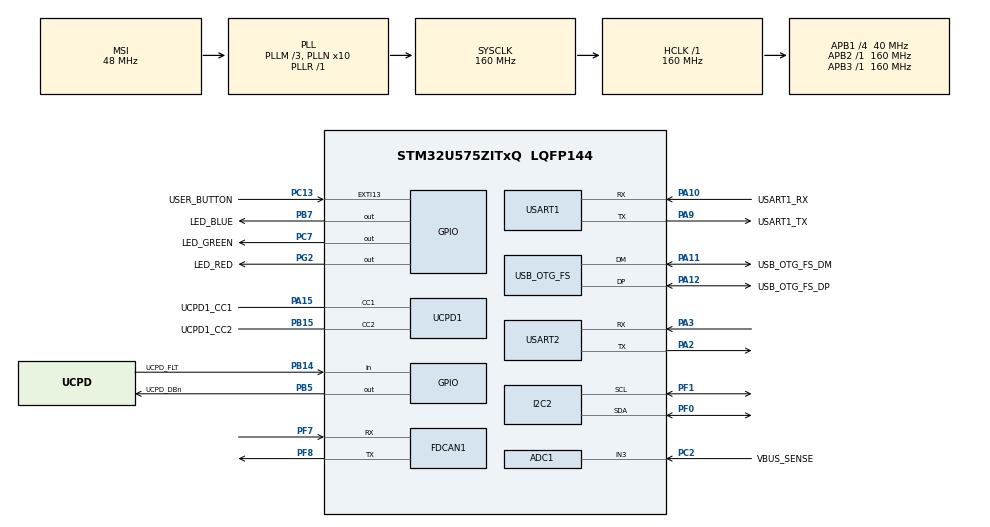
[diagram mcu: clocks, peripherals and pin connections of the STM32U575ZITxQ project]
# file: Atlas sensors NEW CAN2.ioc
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ADC1.NbrOfConversion=1
ADC1.Resolution=ADC_RESOLUTION_14B
ADC1.master=1
CORTEX_M33_NS.userName=CORTEX_M33
FDCAN1.AutoRetransmission=ENABLE
FDCAN1.CalculateBaudRateNominal=500000
FDCAN1.CalculateTimeBitNominal=2000
FDCAN1.CalculateTimeQuantumNominal=100.0
FDCAN1.DataSyncJumpWidth=16
FDCAN1.DataTimeSeg1=23
FDCAN1.DataTimeSeg2=16
FDCAN1.ExtFiltersNbr=1
FDCAN1.FrameFormat=FDCAN_FRAME_FD_BRS
FDCAN1.NominalPrescaler=4
FDCAN1.NominalSyncJumpWidth=3
FDCAN1.NominalTimeSeg1=16
FDCAN1.NominalTimeSeg2=3
FDCAN1.StdFiltersNbr=1
I2C2.Timing=0x00909BEB
Mcu.Family=STM32U5
Mcu.Name=STM32U575ZITxQ
Mcu.Package=LQFP144
NVIC.FDCAN1_IT0_IRQn=true\:0\:0\:false\:false\:true\:true\:true\:true
NVIC.OTG_FS_IRQn=true\:0\:0\:false\:false\:true\:true\:true\:true
NVIC.PriorityGroup=NVIC_PRIORITYGROUP_3
NVIC.USART2_IRQn=true\:0\:0\:false\:false\:true\:true\:true\:true
PA10.GPIO_Label=USART1_RX
PA10.GPIO_PuPd=GPIO_PULLDOWN
PA10.GPIO_Speed=GPIO_SPEED_FREQ_VERY_HIGH
PA10.Mode=Asynchronous
PA10.Signal=USART1_RX
PA11.GPIO_Label=USB_OTG_FS_DM
PA11.GPIO_Speed=GPIO_SPEED_FREQ_VERY_HIGH
PA11.Mode=Device_Only
PA11.Signal=USB_OTG_FS_DM
PA12.GPIO_Label=USB_OTG_FS_DP
PA12.GPIO_Speed=GPIO_SPEED_FREQ_VERY_HIGH
PA12.Mode=Device_Only
PA12.Signal=USB_OTG_FS_DP
PA13\ (JTMS/SWDIO).Mode=Trace_Asynchronous_SW
PA13\ (JTMS/SWDIO).Signal=DEBUG_JTMS-SWDIO
PA14\ (JTCK/SWCLK).Mode=Trace_Asynchronous_SW
PA14\ (JTCK/SWCLK).Signal=DEBUG_JTCK-SWCLK
PA15\ (JTDI).GPIO_Label=UCPD1_CC1
PA15\ (JTDI).Mode=Sink_AllSignals
PA15\ (JTDI).Signal=UCPD1_CC1
PA2.Mode=Asynchronous
PA2.Signal=USART2_TX
PA3.Mode=Asynchronous
PA3.Signal=USART2_RX
PA9.GPIO_Label=USART1_TX
PA9.GPIO_PuPd=GPIO_PULLDOWN
PA9.GPIO_Speed=GPIO_SPEED_FREQ_VERY_HIGH
PA9.Mode=Asynchronous
PA9.Signal=USART1_TX
PB14.GPIO_Label=UCPD_FLT
PB14.Signal=GPIO_Input
PB15.GPIO_Label=UCPD1_CC2
PB15.Mode=Sink_AllSignals
PB15.Signal=UCPD1_CC2
PB3\ (JTDO/TRACESWO).Mode=Trace_Asynchronous_SW
PB3\ (JTDO/TRACESWO).Signal=DEBUG_JTDO-SWO
PB5.GPIO_Label=UCPD_DBn
PB5.Signal=GPIO_Output
PB7.GPIO_Label=LED_BLUE
PB7.GPIO_ModeDefaultOutputPP=GPIO_MODE_OUTPUT_PP
PB7.GPIO_PuPd=GPIO_PULLUP
PB7.GPIO_Speed=GPIO_SPEED_FREQ_HIGH
PB7.Signal=GPIO_Output
PB8.Signal=I2C1_SCL
PB9.Signal=I2C1_SDA
PC13.GPIO_Label=USER_BUTTON
PC13.GPIO_ModeDefaultEXTI=GPIO_MODE_IT_FALLING
PC13.Signal=GPXTI13
PC14-OSC32_IN\ (PC14).Mode=LSE-External-Oscillator
PC14-OSC32_IN\ (PC14).Signal=RCC_OSC32_IN
PC15-OSC32_OUT\ (PC15).Mode=LSE-External-Oscillator
PC15-OSC32_OUT\ (PC15).Signal=RCC_OSC32_OUT
PC2.GPIO_Label=VBUS_SENSE
PC2.Mode=IN3-Single-Ended
PC2.Signal=ADC1_IN3
PC7.GPIO_Label=LED_GREEN
PC7.GPIO_PuPd=GPIO_PULLUP
PC7.GPIO_Speed=GPIO_SPEED_FREQ_HIGH
PC7.Signal=GPIO_Output
PF0.Mode=I2C
PF0.Signal=I2C2_SDA
PF1.Mode=I2C
PF1.Signal=I2C2_SCL
PF7.Mode=FDCAN_Activate
PF7.Signal=FDCAN1_RX
PF8.Mode=FDCAN_Activate
PF8.Signal=FDCAN1_TX
PG2.GPIO_Label=LED_RED
PG2.GPIO_ModeDefaultOutputPP=GPIO_MODE_OUTPUT_PP
PG2.GPIO_PuPd=GPIO_PULLUP
PG2.GPIO_Speed=GPIO_SPEED_FREQ_HIGH
PG2.Signal=GPIO_Output
PWR.PowerMode=PWR_SMPS_SUPPLY
ProjectManager.HeapSize=0x200
ProjectManager.StackSize=0x400
ProjectManager.TargetToolchain=STM32CubeIDE
RCC.ADCFreq_Value=16000000
RCC.AHBFreq_Value=160000000
RCC.APB1CLKDivider=RCC_HCLK_DIV4
RCC.APB1Freq_Value=40000000
RCC.APB1TimFreq_Value=80000000
RCC.APB2Freq_Value=160000000
RCC.APB2TimFreq_Value=160000000
RCC.APB3Freq_Value=160000000
RCC.CortexFreq_Value=160000000
RCC.DACCLockSelectionVirtual=RCC_DAC1CLKSOURCE_LSI
RCC.EPOD_VALUE=48000000
RCC.HCLKFreq_Value=160000000
RCC.HSE_VALUE=16000000
RCC.HSI48_VALUE=48000000
RCC.HSI_VALUE=16000000
RCC.LSIDIV_VALUE=32000
RCC.MSIClockRange=RCC_MSIRANGE_0
RCC.MSI_VALUE=48000000
RCC.PLL1Q=4
RCC.PLL1R=1
RCC.PLLFRACN=0
RCC.PLLM=3
RCC.PLLN=10
RCC.SYSCLKFreq_VALUE=160000000
RCC.SYSCLKSource=RCC_SYSCLKSOURCE_PLLCLK
RCC.USBFreq_Value=48000000
RCC.VCOOutputFreq_Value=160000000
USART1.VirtualMode-Asynchronous=VM_ASYNC
USART2.VirtualMode-Asynchronous=VM_ASYNC
USB_OTG_FS.VirtualMode=Device_Only
VP_GPDMA1_VS_GPDMACH15.Mode=SIMPLEREQUEST_GPDMACH15
VP_ICACHE_VS_ENABLE_ICACHE_MEMORY.Mode=Memoryregions
VP_ICACHE_VS_ICACHE.Mode=DirectMappedCache
VP_LPBAMQUEUE_VS_QUEUE.Mode=QUEUEMODE
VP_LPBAM_VS_SIG1.Mode=SmartRun
VP_LPBAM_VS_SIG4.Mode=LPDMA1
VP_MEMORYMAP_VS_MEMORYMAP.Mode=CurAppReg
VP_PWR_VS_DBSignals.Mode=DisableDeadBatterySignals
VP_PWR_VS_LPOM.Mode=PowerOptimisation
VP_PWR_VS_SECSignals.Mode=Security/Privilege
VP_PWR_Vdda.Mode=isolationVdda
board=NUCLEO-U575ZI-Q

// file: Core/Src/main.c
/* USER CODE BEGIN Header */
/**
  ******************************************************************************
  * @file           : main.c
  * @brief          : Main program body
  ******************************************************************************
  * @attention
  *
  * Copyright (c) 2025 STMicroelectronics.
  * All rights reserved.
  *
  * This software is licensed under terms that can be found in the LICENSE file
  * in the root directory of this software component.
  * If no LICENSE file comes with this software, it is provided AS-IS.
  *
  ******************************************************************************
  */
/* USER CODE END Header */
#include "main.h"

/* USER CODE BEGIN Includes */
#include <string.h>
#include <stdio.h>
#include <can.h>
#include <stdbool.h>
/* USER CODE END Includes */

ADC_HandleTypeDef hadc1;

FDCAN_HandleTypeDef hfdcan1;

DMA_HandleTypeDef handle_GPDMA1_Channel15;

I2C_HandleTypeDef hi2c2;

UART_HandleTypeDef huart1;
UART_HandleTypeDef huart2;

PCD_HandleTypeDef hpcd_USB_OTG_FS;

/* USER CODE BEGIN PV */
#define EZO_pH_I2C_ADDR (0x63 << 1)
#define EZO_EC_I2C_ADDR (0x64 << 1)
#define EZO_RTD_I2C_ADDR (0x66 << 1)

char uart_buffer[64];
volatile uint32_t max600_clock = 0;
volatile uint32_t max800_clock = 0;
/* USER CODE END PV */

void SystemClock_Config(void);
static void SystemPower_Config(void);
static void MX_GPIO_Init(void);
static void MX_GPDMA1_Init(void);
static void MX_ADC1_Init(void);
static void MX_ICACHE_Init(void);
static void MX_UCPD1_Init(void);
static void MX_USART1_UART_Init(void);
static void MX_USB_OTG_FS_PCD_Init(void);
static void MX_USART2_UART_Init(void);
static void MX_I2C2_Init(void);
static void MX_FDCAN1_Init(void);
/* USER CODE BEGIN PFP */
int read_rtd();
int read_ec();
int read_ph();
void SendSensorCommand(const char *cmd, uint16_t address);
void ReadSensorResponse(char *buffer, uint8_t len, uint16_t address);
float simple_atof(char *str);

#ifdef __GNUC__
/* With GCC/RAISONANCE, small printf (option LD Linker->Libraries->Small printf
   set to 'Yes') calls __io_putchar() */
#define PUTCHAR_PROTOTYPE int __io_putchar(int ch)
#else
#define PUTCHAR_PROTOTYPE int fputc(int ch, FILE *f)
#endif /* __GNUC__ */

/* USER CODE END PFP */

int main(void)
{

  /* MCU Configuration--------------------------------------------------------*/

  /* Reset of all peripherals, Initializes the Flash interface and the Systick. */
  HAL_Init();

  /* Configure the System Power */
  SystemPower_Config();

  /* Configure the system clock */
  SystemClock_Config();

  /* Initialize all configured peripherals */
  MX_GPIO_Init();
  MX_GPDMA1_Init();
  MX_ADC1_Init();
  MX_ICACHE_Init();
  MX_UCPD1_Init();
  MX_USART1_UART_Init();
  MX_USB_OTG_FS_PCD_Init();
  MX_USART2_UART_Init();
  MX_I2C2_Init();
  MX_FDCAN1_Init();
  /* USER CODE BEGIN 2 */
  CAN_Init(&hfdcan1);

  /* USER CODE END 2 */

  /* Infinite loop */
  /* USER CODE BEGIN WHILE */
  while (1)
  {
	 uint8_t TxData_temp[3]; memset(TxData_temp, 0, 3);
	 uint8_t TxData_ec[4]; memset(TxData_ec, 0, 4);
	 uint8_t TxData_ph[2]; memset(TxData_ph, 0, 2);

	 // TEMPERATURE
	 int temp_val = read_rtd();

	 TxData_temp[0] = (uint8_t)(temp_val & 0xFF);
	 TxData_temp[1] = (uint8_t)((temp_val >> 8) & 0xFF);
	 TxData_temp[2] = (uint8_t)((temp_val >> 16) & 0xFF);

	 if (CAN_Transmit(0x100, FDCAN_STANDARD_ID, FDCAN_DLC_BYTES_3, TxData_temp, &hfdcan1) != HAL_OK) {
		 Error_Handler();
	 } else HAL_GPIO_WritePin(GPIOC, GPIO_PIN_7, GPIO_PIN_SET);
	 HAL_GPIO_WritePin(GPIOC, GPIO_PIN_7, GPIO_PIN_RESET);

	 // PH
	 int ph_val = read_ph();
	 TxData_ph[0] = (uint8_t)(ph_val & 0xFF);
	 TxData_ph[1] = (uint8_t)((ph_val >> 8) & 0xFF);

	 if (CAN_Transmit(0x110, FDCAN_STANDARD_ID, FDCAN_DLC_BYTES_2, TxData_ph, &hfdcan1) != HAL_OK) {
		 Error_Handler();
	 } else HAL_GPIO_WritePin(GPIOC, GPIO_PIN_7, GPIO_PIN_SET);
	 HAL_GPIO_WritePin(GPIOC, GPIO_PIN_7, GPIO_PIN_RESET);

	 // SALINITY
	 int ec_val = read_ec();
	 TxData_ec[0] = (uint8_t)(ec_val & 0xFF);
	 TxData_ec[1] = (uint8_t)((ec_val >> 8) & 0xFF);
	 TxData_ec[2] = (uint8_t)((ec_val >> 16) & 0xFF);
	 TxData_ec[3] = (uint8_t)((ec_val >> 24) & 0xFF);

	 if (CAN_Transmit(0x120, FDCAN_STANDARD_ID, FDCAN_DLC_BYTES_4, TxData_ec, &hfdcan1) != HAL_OK) {
		 Error_Handler();
	 } else HAL_GPIO_WritePin(GPIOC, GPIO_PIN_7, GPIO_PIN_SET);
	 HAL_GPIO_WritePin(GPIOC, GPIO_PIN_7, GPIO_PIN_RESET);

	 max600_clock++;
	 max800_clock++;

	 HAL_Delay(1);

    /* USER CODE END WHILE */

  }
}

void SystemClock_Config(void)
{
  RCC_OscInitTypeDef RCC_OscInitStruct = {0};
  RCC_ClkInitTypeDef RCC_ClkInitStruct = {0};

  /** Configure the main internal regulator output voltage
  */
  if (HAL_PWREx_ControlVoltageScaling(PWR_REGULATOR_VOLTAGE_SCALE1) != HAL_OK)
  {
    Error_Handler();
  }

  /** Initializes the CPU, AHB and APB buses clocks
  */
  RCC_OscInitStruct.OscillatorType = RCC_OSCILLATORTYPE_HSI48|RCC_OSCILLATORTYPE_HSI
                              |RCC_OSCILLATORTYPE_MSI;
  RCC_OscInitStruct.HSIState = RCC_HSI_ON;
  RCC_OscInitStruct.HSI48State = RCC_HSI48_ON;
  RCC_OscInitStruct.HSICalibrationValue = RCC_HSICALIBRATION_DEFAULT;
  RCC_OscInitStruct.MSIState = RCC_MSI_ON;
  RCC_OscInitStruct.MSICalibrationValue = RCC_MSICALIBRATION_DEFAULT;
  RCC_OscInitStruct.MSIClockRange = RCC_MSIRANGE_0;
  RCC_OscInitStruct.PLL.PLLState = RCC_PLL_ON;
  RCC_OscInitStruct.PLL.PLLSource = RCC_PLLSOURCE_MSI;
  RCC_OscInitStruct.PLL.PLLMBOOST = RCC_PLLMBOOST_DIV4;
  RCC_OscInitStruct.PLL.PLLM = 3;
  RCC_OscInitStruct.PLL.PLLN = 10;
  RCC_OscInitStruct.PLL.PLLP = 2;
  RCC_OscInitStruct.PLL.PLLQ = 4;
  RCC_OscInitStruct.PLL.PLLR = 1;
  RCC_OscInitStruct.PLL.PLLRGE = RCC_PLLVCIRANGE_1;
  RCC_OscInitStruct.PLL.PLLFRACN = 0;
  if (HAL_RCC_OscConfig(&RCC_OscInitStruct) != HAL_OK)
  {
    Error_Handler();
  }

  /** Initializes the CPU, AHB and APB buses clocks
  */
  RCC_ClkInitStruct.ClockType = RCC_CLOCKTYPE_HCLK|RCC_CLOCKTYPE_SYSCLK
                              |RCC_CLOCKTYPE_PCLK1|RCC_CLOCKTYPE_PCLK2
                              |RCC_CLOCKTYPE_PCLK3;
  RCC_ClkInitStruct.SYSCLKSource = RCC_SYSCLKSOURCE_PLLCLK;
  RCC_ClkInitStruct.AHBCLKDivider = RCC_SYSCLK_DIV1;
  RCC_ClkInitStruct.APB1CLKDivider = RCC_HCLK_DIV4;
  RCC_ClkInitStruct.APB2CLKDivider = RCC_HCLK_DIV1;
  RCC_ClkInitStruct.APB3CLKDivider = RCC_HCLK_DIV1;

  if (HAL_RCC_ClockConfig(&RCC_ClkInitStruct, FLASH_LATENCY_4) != HAL_OK)
  {
    Error_Handler();
  }
}

/**
  * @brief Power Configuration
  * @retval None
  */
static void SystemPower_Config(void)
{
  HAL_PWREx_EnableVddIO2();

  /*
   * Switch to SMPS regulator instead of LDO
   */
  if (HAL_PWREx_ConfigSupply(PWR_SMPS_SUPPLY) != HAL_OK)
  {
    Error_Handler();
  }
}

static void MX_ADC1_Init(void)
{

  /** Common config
  */
  hadc1.Instance = ADC1;
  hadc1.Init.ClockPrescaler = ADC_CLOCK_ASYNC_DIV1;
  hadc1.Init.Resolution = ADC_RESOLUTION_14B;
  hadc1.Init.GainCompensation = 0;
  hadc1.Init.ScanConvMode = ADC_SCAN_DISABLE;
  hadc1.Init.EOCSelection = ADC_EOC_SINGLE_CONV;
  hadc1.Init.LowPowerAutoWait = DISABLE;
  hadc1.Init.ContinuousConvMode = DISABLE;
  hadc1.Init.NbrOfConversion = 1;
  hadc1.Init.DiscontinuousConvMode = DISABLE;
  hadc1.Init.DMAContinuousRequests = DISABLE;
  hadc1.Init.TriggerFrequencyMode = ADC_TRIGGER_FREQ_HIGH;
  hadc1.Init.Overrun = ADC_OVR_DATA_PRESERVED;
  hadc1.Init.LeftBitShift = ADC_LEFTBITSHIFT_NONE;
  hadc1.Init.ConversionDataManagement = ADC_CONVERSIONDATA_DR;
  hadc1.Init.OversamplingMode = DISABLE;
  if (HAL_ADC_Init(&hadc1) != HAL_OK)
  {
    Error_Handler();
  }

}

static void MX_FDCAN1_Init(void)
{

  hfdcan1.Instance = FDCAN1;
  hfdcan1.Init.ClockDivider = FDCAN_CLOCK_DIV1;
  hfdcan1.Init.FrameFormat = FDCAN_FRAME_FD_BRS;
  hfdcan1.Init.Mode = FDCAN_MODE_NORMAL;
  hfdcan1.Init.AutoRetransmission = ENABLE;
  hfdcan1.Init.TransmitPause = DISABLE;
  hfdcan1.Init.ProtocolException = DISABLE;
  hfdcan1.Init.NominalPrescaler = 4;
  hfdcan1.Init.NominalSyncJumpWidth = 3;
  hfdcan1.Init.NominalTimeSeg1 = 16;
  hfdcan1.Init.NominalTimeSeg2 = 3;
  hfdcan1.Init.DataPrescaler = 1;
  hfdcan1.Init.DataSyncJumpWidth = 16;
  hfdcan1.Init.DataTimeSeg1 = 23;
  hfdcan1.Init.DataTimeSeg2 = 16;
  hfdcan1.Init.StdFiltersNbr = 1;
  hfdcan1.Init.ExtFiltersNbr = 1;
  hfdcan1.Init.TxFifoQueueMode = FDCAN_TX_FIFO_OPERATION;
  if (HAL_FDCAN_Init(&hfdcan1) != HAL_OK)
  {
    Error_Handler();
  }

}

static void MX_GPDMA1_Init(void)
{

  /* Peripheral clock enable */
  __HAL_RCC_GPDMA1_CLK_ENABLE();

  handle_GPDMA1_Channel15.Instance = GPDMA1_Channel15;
  handle_GPDMA1_Channel15.Init.Request = DMA_REQUEST_SW;
  handle_GPDMA1_Channel15.Init.BlkHWRequest = DMA_BREQ_SINGLE_BURST;
  handle_GPDMA1_Channel15.Init.Direction = DMA_MEMORY_TO_MEMORY;
  handle_GPDMA1_Channel15.Init.SrcInc = DMA_SINC_FIXED;
  handle_GPDMA1_Channel15.Init.DestInc = DMA_DINC_FIXED;
  handle_GPDMA1_Channel15.Init.SrcDataWidth = DMA_SRC_DATAWIDTH_BYTE;
  handle_GPDMA1_Channel15.Init.DestDataWidth = DMA_DEST_DATAWIDTH_BYTE;
  handle_GPDMA1_Channel15.Init.Priority = DMA_LOW_PRIORITY_LOW_WEIGHT;
  handle_GPDMA1_Channel15.Init.SrcBurstLength = 1;
  handle_GPDMA1_Channel15.Init.DestBurstLength = 1;
  handle_GPDMA1_Channel15.Init.TransferAllocatedPort = DMA_SRC_ALLOCATED_PORT0|DMA_DEST_ALLOCATED_PORT0;
  handle_GPDMA1_Channel15.Init.TransferEventMode = DMA_TCEM_BLOCK_TRANSFER;
  handle_GPDMA1_Channel15.Init.Mode = DMA_NORMAL;
  if (HAL_DMA_Init(&handle_GPDMA1_Channel15) != HAL_OK)
  {
    Error_Handler();
  }
  if (HAL_DMA_ConfigChannelAttributes(&handle_GPDMA1_Channel15, DMA_CHANNEL_NPRIV) != HAL_OK)
  {
    Error_Handler();
  }

}

static void MX_I2C2_Init(void)
{

  hi2c2.Instance = I2C2;
  hi2c2.Init.Timing = 0x00909BEB;
  hi2c2.Init.OwnAddress1 = 0;
  hi2c2.Init.AddressingMode = I2C_ADDRESSINGMODE_7BIT;
  hi2c2.Init.DualAddressMode = I2C_DUALADDRESS_DISABLE;
  hi2c2.Init.OwnAddress2 = 0;
  hi2c2.Init.OwnAddress2Masks = I2C_OA2_NOMASK;
  hi2c2.Init.GeneralCallMode = I2C_GENERALCALL_DISABLE;
  hi2c2.Init.NoStretchMode = I2C_NOSTRETCH_DISABLE;
  if (HAL_I2C_Init(&hi2c2) != HAL_OK)
  {
    Error_Handler();
  }

  /** Configure Analogue filter
  */
  if (HAL_I2CEx_ConfigAnalogFilter(&hi2c2, I2C_ANALOGFILTER_ENABLE) != HAL_OK)
  {
    Error_Handler();
  }

  /** Configure Digital filter
  */
  if (HAL_I2CEx_ConfigDigitalFilter(&hi2c2, 0) != HAL_OK)
  {
    Error_Handler();
  }

}

static void MX_ICACHE_Init(void)
{

  /** Enable instruction cache in 1-way (direct mapped cache)
  */
  if (HAL_ICACHE_ConfigAssociativityMode(ICACHE_1WAY) != HAL_OK)
  {
    Error_Handler();
  }
  if (HAL_ICACHE_Enable() != HAL_OK)
  {
    Error_Handler();
  }

}

static void MX_UCPD1_Init(void)
{

  LL_GPIO_InitTypeDef GPIO_InitStruct = {0};

  /* Peripheral clock enable */
  LL_APB1_GRP2_EnableClock(LL_APB1_GRP2_PERIPH_UCPD1);

  LL_AHB2_GRP1_EnableClock(LL_AHB2_GRP1_PERIPH_GPIOB);
  LL_AHB2_GRP1_EnableClock(LL_AHB2_GRP1_PERIPH_GPIOA);
  /**UCPD1 GPIO Configuration
  PB15   ------> UCPD1_CC2
  PA15 (JTDI)   ------> UCPD1_CC1
  */
  GPIO_InitStruct.Pin = LL_GPIO_PIN_15;
  GPIO_InitStruct.Mode = LL_GPIO_MODE_ANALOG;
  GPIO_InitStruct.Pull = LL_GPIO_PULL_NO;
  LL_GPIO_Init(GPIOB, &GPIO_InitStruct);

  GPIO_InitStruct.Pin = LL_GPIO_PIN_15;
  GPIO_InitStruct.Mode = LL_GPIO_MODE_ANALOG;
  GPIO_InitStruct.Pull = LL_GPIO_PULL_NO;
  LL_GPIO_Init(GPIOA, &GPIO_InitStruct);

}

static void MX_USART1_UART_Init(void)
{

  huart1.Instance = USART1;
  huart1.Init.BaudRate = 115200;
  huart1.Init.WordLength = UART_WORDLENGTH_8B;
  huart1.Init.StopBits = UART_STOPBITS_1;
  huart1.Init.Parity = UART_PARITY_NONE;
  huart1.Init.Mode = UART_MODE_TX_RX;
  huart1.Init.HwFlowCtl = UART_HWCONTROL_NONE;
  huart1.Init.OverSampling = UART_OVERSAMPLING_16;
  huart1.Init.OneBitSampling = UART_ONE_BIT_SAMPLE_DISABLE;
  huart1.Init.ClockPrescaler = UART_PRESCALER_DIV1;
  huart1.AdvancedInit.AdvFeatureInit = UART_ADVFEATURE_NO_INIT;
  if (HAL_UART_Init(&huart1) != HAL_OK)
  {
    Error_Handler();
  }
  if (HAL_UARTEx_SetTxFifoThreshold(&huart1, UART_TXFIFO_THRESHOLD_1_8) != HAL_OK)
  {
    Error_Handler();
  }
  if (HAL_UARTEx_SetRxFifoThreshold(&huart1, UART_RXFIFO_THRESHOLD_1_8) != HAL_OK)
  {
    Error_Handler();
  }
  if (HAL_UARTEx_DisableFifoMode(&huart1) != HAL_OK)
  {
    Error_Handler();
  }

}

static void MX_USART2_UART_Init(void)
{

  huart2.Instance = USART2;
  huart2.Init.BaudRate = 115200;
  huart2.Init.WordLength = UART_WORDLENGTH_8B;
  huart2.Init.StopBits = UART_STOPBITS_1;
  huart2.Init.Parity = UART_PARITY_NONE;
  huart2.Init.Mode = UART_MODE_TX_RX;
  huart2.Init.HwFlowCtl = UART_HWCONTROL_NONE;
  huart2.Init.OverSampling = UART_OVERSAMPLING_16;
  huart2.Init.OneBitSampling = UART_ONE_BIT_SAMPLE_DISABLE;
  huart2.Init.ClockPrescaler = UART_PRESCALER_DIV1;
  huart2.AdvancedInit.AdvFeatureInit = UART_ADVFEATURE_NO_INIT;
  if (HAL_UART_Init(&huart2) != HAL_OK)
  {
    Error_Handler();
  }
  if (HAL_UARTEx_SetTxFifoThreshold(&huart2, UART_TXFIFO_THRESHOLD_1_8) != HAL_OK)
  {
    Error_Handler();
  }
  if (HAL_UARTEx_SetRxFifoThreshold(&huart2, UART_RXFIFO_THRESHOLD_1_8) != HAL_OK)
  {
    Error_Handler();
  }
  if (HAL_UARTEx_DisableFifoMode(&huart2) != HAL_OK)
  {
    Error_Handler();
  }

}

static void MX_USB_OTG_FS_PCD_Init(void)
{

  hpcd_USB_OTG_FS.Instance = USB_OTG_FS;
  hpcd_USB_OTG_FS.Init.dev_endpoints = 6;
  hpcd_USB_OTG_FS.Init.speed = PCD_SPEED_FULL;
  hpcd_USB_OTG_FS.Init.phy_itface = PCD_PHY_EMBEDDED;
  hpcd_USB_OTG_FS.Init.Sof_enable = DISABLE;
  hpcd_USB_OTG_FS.Init.low_power_enable = DISABLE;
  hpcd_USB_OTG_FS.Init.lpm_enable = DISABLE;
  hpcd_USB_OTG_FS.Init.battery_charging_enable = DISABLE;
  hpcd_USB_OTG_FS.Init.use_dedicated_ep1 = DISABLE;
  hpcd_USB_OTG_FS.Init.vbus_sensing_enable = DISABLE;
  hpcd_USB_OTG_FS.Init.dma_enable = DISABLE;
  if (HAL_PCD_Init(&hpcd_USB_OTG_FS) != HAL_OK)
  {
    Error_Handler();
  }

}

static void MX_GPIO_Init(void)
{
  GPIO_InitTypeDef GPIO_InitStruct = {0};

  /* GPIO Ports Clock Enable */
  __HAL_RCC_GPIOC_CLK_ENABLE();
  __HAL_RCC_GPIOF_CLK_ENABLE();
  __HAL_RCC_GPIOA_CLK_ENABLE();
  __HAL_RCC_GPIOB_CLK_ENABLE();
  __HAL_RCC_GPIOG_CLK_ENABLE();

  /*Configure GPIO pin Output Level */
  HAL_GPIO_WritePin(LED_RED_GPIO_Port, LED_RED_Pin, GPIO_PIN_RESET);

  /*Configure GPIO pin Output Level */
  HAL_GPIO_WritePin(LED_GREEN_GPIO_Port, LED_GREEN_Pin, GPIO_PIN_RESET);

  /*Configure GPIO pin Output Level */
  HAL_GPIO_WritePin(GPIOB, UCPD_DBn_Pin|LED_BLUE_Pin, GPIO_PIN_RESET);

  /*Configure GPIO pin : USER_BUTTON_Pin */
  GPIO_InitStruct.Pin = USER_BUTTON_Pin;
  GPIO_InitStruct.Mode = GPIO_MODE_IT_FALLING;
  GPIO_InitStruct.Pull = GPIO_NOPULL;
  HAL_GPIO_Init(USER_BUTTON_GPIO_Port, &GPIO_InitStruct);

  /*Configure GPIO pin : UCPD_FLT_Pin */
  GPIO_InitStruct.Pin = UCPD_FLT_Pin;
  GPIO_InitStruct.Mode = GPIO_MODE_INPUT;
  GPIO_InitStruct.Pull = GPIO_NOPULL;
  HAL_GPIO_Init(UCPD_FLT_GPIO_Port, &GPIO_InitStruct);

  /*Configure GPIO pin : LED_RED_Pin */
  GPIO_InitStruct.Pin = LED_RED_Pin;
  GPIO_InitStruct.Mode = GPIO_MODE_OUTPUT_PP;
  GPIO_InitStruct.Pull = GPIO_PULLUP;
  GPIO_InitStruct.Speed = GPIO_SPEED_FREQ_HIGH;
  HAL_GPIO_Init(LED_RED_GPIO_Port, &GPIO_InitStruct);

  /*Configure GPIO pin : LED_GREEN_Pin */
  GPIO_InitStruct.Pin = LED_GREEN_Pin;
  GPIO_InitStruct.Mode = GPIO_MODE_OUTPUT_PP;
  GPIO_InitStruct.Pull = GPIO_PULLUP;
  GPIO_InitStruct.Speed = GPIO_SPEED_FREQ_HIGH;
  HAL_GPIO_Init(LED_GREEN_GPIO_Port, &GPIO_InitStruct);

  /*Configure GPIO pin : UCPD_DBn_Pin */
  GPIO_InitStruct.Pin = UCPD_DBn_Pin;
  GPIO_InitStruct.Mode = GPIO_MODE_OUTPUT_PP;
  GPIO_InitStruct.Pull = GPIO_NOPULL;
  GPIO_InitStruct.Speed = GPIO_SPEED_FREQ_LOW;
  HAL_GPIO_Init(UCPD_DBn_GPIO_Port, &GPIO_InitStruct);

  /*Configure GPIO pin : LED_BLUE_Pin */
  GPIO_InitStruct.Pin = LED_BLUE_Pin;
  GPIO_InitStruct.Mode = GPIO_MODE_OUTPUT_PP;
  GPIO_InitStruct.Pull = GPIO_PULLUP;
  GPIO_InitStruct.Speed = GPIO_SPEED_FREQ_HIGH;
  HAL_GPIO_Init(LED_BLUE_GPIO_Port, &GPIO_InitStruct);

  /*Configure GPIO pins : PB8 PB9 */
  GPIO_InitStruct.Pin = GPIO_PIN_8|GPIO_PIN_9;
  GPIO_InitStruct.Mode = GPIO_MODE_AF_OD;
  GPIO_InitStruct.Pull = GPIO_NOPULL;
  GPIO_InitStruct.Speed = GPIO_SPEED_FREQ_LOW;
  GPIO_InitStruct.Alternate = GPIO_AF4_I2C1;
  HAL_GPIO_Init(GPIOB, &GPIO_InitStruct);

}

/* USER CODE BEGIN 4 */
/*
 * RTD Read */
int read_rtd() {

	char response[32] = {0};

	if (max600_clock == 0) {
	    SendSensorCommand("R", EZO_RTD_I2C_ADDR);
	}

	if (max600_clock == 600) {
	    ReadSensorResponse(response, sizeof(response), EZO_RTD_I2C_ADDR);
	    float response_f = simple_atof((char *) response) + 273.15;
	    return response_f * 1000;
	}

}

/*
 * EC Read */
int read_ec() { //0.07 -> 500,000; resolution decreases as conductivity increases

	char response[32] = {0};

	if (max600_clock == 0) {
	    SendSensorCommand("R", EZO_EC_I2C_ADDR);
	}

	if (max600_clock == 600) {
	    ReadSensorResponse(response, sizeof(response), EZO_EC_I2C_ADDR);

	    float response_f = simple_atof(response);
	    return response_f * 1000;
	    max600_clock = 0;
	}

}

/*
 * pH Read */
int read_ph() { //0.001 -> 14.000, returns 1-> 14000

	char response[32] = {0};

	if (max800_clock == 0) {
	    SendSensorCommand("R", EZO_pH_I2C_ADDR);
	}

	if (max800_clock == 800) {
	    ReadSensorResponse(response, sizeof(response), EZO_pH_I2C_ADDR);

	    float response_f = simple_atof(response);
	    return response_f * 1000;
	    max800_clock = 0;
	}

}

/* I2C Transmit and Receive for sensors */
void SendSensorCommand(const char *cmd, uint16_t address) {
    HAL_StatusTypeDef status = HAL_I2C_Master_Transmit(&hi2c2, address, (uint8_t *)cmd, strlen(cmd), 1000); // timeout 1s
    if (status != HAL_OK) {
		printf("I2C TX failed! ErrorCode: %ld\r\n", hi2c2.ErrorCode);
	}
}

void ReadSensorResponse(char *buffer, uint8_t len, uint16_t address) {
    HAL_I2C_Master_Receive(&hi2c2, address, (uint8_t*)buffer, len, HAL_MAX_DELAY);
}

float simple_atof(char *str) {
    float result = 0.0f;
    float sign = 1.0f;
    float frac = 0.1f;
    bool after_decimal = false;
    bool started = false;

    // Skip everything until a digit or sign appears
    while (*str && !((*str >= '0' && *str <= '9') || *str == '-' || *str == '+')) {
        str++;
    }

    // Handle sign
    if (*str == '-') {
        sign = -1.0f;
        str++;
    } else if (*str == '+') {
        str++;
    }

    // Parse number
    while (*str) {
        if (*str >= '0' && *str <= '9') {
            started = true;
            if (!after_decimal) {
                result = result * 10.0f + (*str - '0');
            } else {
                result += (*str - '0') * frac;
                frac *= 0.1f;
            }
        } else if (*str == '.') {
            after_decimal = true;
        } else {
            if (started) break;
        }
        str++;
    }

    return result * sign;
}

PUTCHAR_PROTOTYPE
{
  /* Place your implementation of fputc here */
  /* e.g. write a character to the USART1 and Loop until the end of transmission */
  HAL_UART_Transmit(&huart1, (uint8_t *)&ch, 1, HAL_MAX_DELAY);

  return ch;
}
/* USER CODE END 4 */

void Error_Handler(void)
{
  __disable_irq();
  while (1)
  {
  }
}
